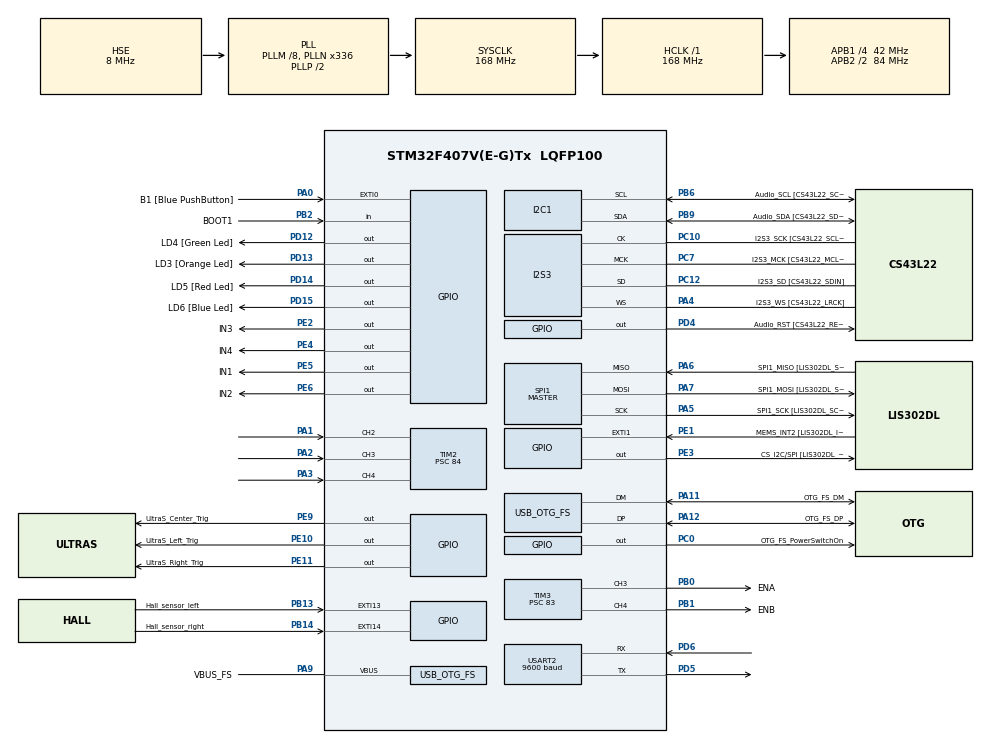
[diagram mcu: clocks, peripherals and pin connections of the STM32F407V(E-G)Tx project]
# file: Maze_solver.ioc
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I2S3.AudioFreq-Half_Duplex_Master=I2S_AUDIOFREQ_96K
I2S3.ErrorAudioFreq=-2.34 %
I2S3.ErrorAudioFreq-Half_Duplex_Master=0.8 %
I2S3.FullDuplexMode=I2S_FULLDUPLEXMODE_DISABLE
I2S3.Instance=SPI$Index
I2S3.RealAudioFreq=93.75 KHz
I2S3.RealAudioFreq-Half_Duplex_Master=96.774 KHz
I2S3.VirtualMode=I2S_MODE_MASTER
Mcu.Family=STM32F4
Mcu.Name=STM32F407V(E-G)Tx
Mcu.Package=LQFP100
NVIC.EXTI15_10_IRQn=true\:0\:0\:false\:false\:true\:true\:true\:true
NVIC.OTG_FS_IRQn=true\:0\:0\:false\:false\:true\:true\:true\:true
NVIC.PriorityGroup=NVIC_PRIORITYGROUP_0
NVIC.TIM2_IRQn=true\:0\:0\:false\:false\:true\:true\:true\:true
NVIC.USART2_IRQn=true\:0\:0\:false\:false\:true\:true\:true\:true
PA0-WKUP.GPIO_Label=B1 [Blue PushButton]
PA0-WKUP.GPIO_ModeDefaultEXTI=GPIO_MODE_EVT_RISING
PA0-WKUP.GPIO_PuPd=GPIO_NOPULL
PA0-WKUP.Signal=GPXTI0
PA1.Signal=S_TIM2_CH2
PA10.GPIO_Label=OTG_FS_ID
PA10.GPIO_Mode=GPIO_MODE_AF_PP
PA10.GPIO_PuPd=GPIO_NOPULL
PA10.GPIO_Speed=GPIO_SPEED_FREQ_LOW
PA10.Signal=USB_OTG_FS_ID
PA11.GPIO_Label=OTG_FS_DM
PA11.GPIO_Mode=GPIO_MODE_AF_PP
PA11.GPIO_PuPd=GPIO_NOPULL
PA11.GPIO_Speed=GPIO_SPEED_FREQ_LOW
PA11.Mode=Host_Only
PA11.Signal=USB_OTG_FS_DM
PA12.GPIO_Label=OTG_FS_DP
PA12.GPIO_Mode=GPIO_MODE_AF_PP
PA12.GPIO_PuPd=GPIO_NOPULL
PA12.GPIO_Speed=GPIO_SPEED_FREQ_LOW
PA12.Mode=Host_Only
PA12.Signal=USB_OTG_FS_DP
PA13.GPIO_Label=SWDIO
PA13.Mode=Serial_Wire
PA13.Signal=SYS_JTMS-SWDIO
PA14.GPIO_Label=SWCLK
PA14.Mode=Serial_Wire
PA14.Signal=SYS_JTCK-SWCLK
PA2.Signal=S_TIM2_CH3
PA3.Signal=S_TIM2_CH4
PA4.GPIO_Label=I2S3_WS [CS43L22_LRCK]
PA4.GPIO_Mode=GPIO_MODE_AF_PP
PA4.GPIO_PuPd=GPIO_NOPULL
PA4.GPIO_Speed=GPIO_SPEED_FREQ_LOW
PA4.Mode=Half_Duplex_Master
PA4.Signal=I2S3_WS
PA5.GPIO_Label=SPI1_SCK [LIS302DL_SCL/SPC]
PA5.GPIO_Mode=GPIO_MODE_AF_PP
PA5.GPIO_PuPd=GPIO_NOPULL
PA5.GPIO_Speed=GPIO_SPEED_FREQ_LOW
PA5.Mode=Full_Duplex_Master
PA5.Signal=SPI1_SCK
PA6.GPIO_Label=SPI1_MISO [LIS302DL_SDO]
PA6.GPIO_Mode=GPIO_MODE_AF_PP
PA6.GPIO_PuPd=GPIO_NOPULL
PA6.GPIO_Speed=GPIO_SPEED_FREQ_LOW
PA6.Mode=Full_Duplex_Master
PA6.Signal=SPI1_MISO
PA7.GPIO_Label=SPI1_MOSI [LIS302DL_SDA/SDI/SDO]
PA7.GPIO_Mode=GPIO_MODE_AF_PP
PA7.GPIO_PuPd=GPIO_NOPULL
PA7.GPIO_Speed=GPIO_SPEED_FREQ_LOW
PA7.Mode=Full_Duplex_Master
PA7.Signal=SPI1_MOSI
PA9.GPIO_Label=VBUS_FS
PA9.GPIO_Mode=GPIO_MODE_INPUT
PA9.GPIO_PuPd=GPIO_NOPULL
PA9.Mode=Activate_VBUS
PA9.Signal=USB_OTG_FS_VBUS
PB0.GPIO_Label=ENA
PB0.Signal=S_TIM3_CH3
PB1.GPIO_Label=ENB
PB1.Signal=S_TIM3_CH4
PB10.GPIO_Label=CLK_IN [MP45DT02_CLK]
PB10.GPIO_Mode=GPIO_MODE_AF_PP
PB10.GPIO_PuPd=GPIO_NOPULL
PB10.GPIO_Speed=GPIO_SPEED_FREQ_LOW
PB10.Signal=I2S2_CK
PB13.GPIO_Label=Hall_sensor_left
PB13.GPIO_PuPd=GPIO_PULLUP
PB13.Signal=GPXTI13
PB14.GPIO_Label=Hall_sensor_right
PB14.GPIO_PuPd=GPIO_PULLUP
PB14.Signal=GPXTI14
PB2.GPIO_Label=BOOT1
PB2.GPIO_Mode=GPIO_MODE_INPUT
PB2.GPIO_PuPd=GPIO_NOPULL
PB2.Signal=GPIO_Input
PB3.GPIO_Label=SWO
PB3.Signal=SYS_JTDO-SWO
PB6.GPIO_Label=Audio_SCL [CS43L22_SCL]
PB6.GPIO_Mode=GPIO_MODE_AF_OD
PB6.GPIO_Pu=GPIO_PULLUP
PB6.GPIO_PuPd=GPIO_NOPULL
PB6.GPIO_Speed=GPIO_SPEED_FREQ_LOW
PB6.Mode=I2C
PB6.Signal=I2C1_SCL
PB9.GPIO_Label=Audio_SDA [CS43L22_SDA]
PB9.GPIO_Mode=GPIO_MODE_AF_OD
PB9.GPIO_Pu=GPIO_PULLUP
PB9.GPIO_PuPd=GPIO_NOPULL
PB9.GPIO_Speed=GPIO_SPEED_FREQ_LOW
PB9.Mode=I2C
PB9.Signal=I2C1_SDA
PC0.GPIO_Label=OTG_FS_PowerSwitchOn
PC0.GPIO_PuPd=GPIO_NOPULL
PC0.GPIO_Speed=GPIO_SPEED_FREQ_LOW
PC0.PinState=GPIO_PIN_SET
PC0.Signal=GPIO_Output
PC10.GPIO_Label=I2S3_SCK [CS43L22_SCLK]
PC10.GPIO_Mode=GPIO_MODE_AF_PP
PC10.GPIO_PuPd=GPIO_NOPULL
PC10.GPIO_Speed=GPIO_SPEED_FREQ_LOW
PC10.Mode=Half_Duplex_Master
PC10.Signal=I2S3_CK
PC12.GPIO_Label=I2S3_SD [CS43L22_SDIN]
PC12.GPIO_Mode=GPIO_MODE_AF_PP
PC12.GPIO_PuPd=GPIO_NOPULL
PC12.GPIO_Speed=GPIO_SPEED_FREQ_LOW
PC12.Mode=Half_Duplex_Master
PC12.Signal=I2S3_SD
PC14-OSC32_IN.GPIO_Label=PC14-OSC32_IN
PC14-OSC32_IN.Mode=LSE-External-Oscillator
PC14-OSC32_IN.Signal=RCC_OSC32_IN
PC15-OSC32_OUT.GPIO_Label=PC15-OSC32_OUT
PC15-OSC32_OUT.Mode=LSE-External-Oscillator
PC15-OSC32_OUT.Signal=RCC_OSC32_OUT
PC3.GPIO_Label=PDM_OUT [MP45DT02_DOUT]
PC3.GPIO_Mode=GPIO_MODE_AF_PP
PC3.GPIO_PuPd=GPIO_NOPULL
PC3.GPIO_Speed=GPIO_SPEED_FREQ_LOW
PC3.Signal=I2S2_SD
PC7.GPIO_Label=I2S3_MCK [CS43L22_MCLK]
PC7.GPIO_Mode=GPIO_MODE_AF_PP
PC7.GPIO_PuPd=GPIO_NOPULL
PC7.GPIO_Speed=GPIO_SPEED_FREQ_LOW
PC7.Mode=Master_Clock_Activated
PC7.Signal=I2S3_MCK
PD12.GPIO_Label=LD4 [Green Led]
PD12.GPIO_PuPd=GPIO_NOPULL
PD12.GPIO_Speed=GPIO_SPEED_FREQ_LOW
PD12.Signal=GPIO_Output
PD13.GPIO_Label=LD3 [Orange Led]
PD13.GPIO_PuPd=GPIO_NOPULL
PD13.GPIO_Speed=GPIO_SPEED_FREQ_LOW
PD13.Signal=GPIO_Output
PD14.GPIO_Label=LD5 [Red Led]
PD14.GPIO_PuPd=GPIO_NOPULL
PD14.GPIO_Speed=GPIO_SPEED_FREQ_LOW
PD14.Signal=GPIO_Output
PD15.GPIO_Label=LD6 [Blue Led]
PD15.GPIO_PuPd=GPIO_NOPULL
PD15.GPIO_Speed=GPIO_SPEED_FREQ_LOW
PD15.Signal=GPIO_Output
PD4.GPIO_Label=Audio_RST [CS43L22_RESET]
PD4.GPIO_PuPd=GPIO_NOPULL
PD4.GPIO_Speed=GPIO_SPEED_FREQ_LOW
PD4.Signal=GPIO_Output
PD5.Mode=Asynchronous
PD5.Signal=USART2_TX
PD6.Mode=Asynchronous
PD6.Signal=USART2_RX
PE1.GPIO_Label=MEMS_INT2 [LIS302DL_INT2]
PE1.GPIO_ModeDefaultEXTI=GPIO_MODE_EVT_RISING
PE1.GPIO_PuPd=GPIO_NOPULL
PE1.Signal=GPXTI1
PE10.GPIO_Label=UltraS_Left_Trig
PE10.Signal=GPIO_Output
PE11.GPIO_Label=UltraS_Right_Trig
PE11.Signal=GPIO_Output
PE2.GPIO_Label=IN3
PE2.Signal=GPIO_Output
PE3.GPIO_Label=CS_I2C/SPI [LIS302DL_CS_I2C/SPI]
PE3.GPIO_PuPd=GPIO_NOPULL
PE3.GPIO_Speed=GPIO_SPEED_FREQ_LOW
PE3.Signal=GPIO_Output
PE4.GPIO_Label=IN4
PE4.Signal=GPIO_Output
PE5.GPIO_Label=IN1
PE5.Signal=GPIO_Output
PE6.GPIO_Label=IN2
PE6.Signal=GPIO_Output
PE9.GPIO_Label=UltraS_Center_Trig
PE9.Signal=GPIO_Output
PH0-OSC_IN.GPIO_Label=PH0-OSC_IN
PH0-OSC_IN.Mode=HSE-External-Oscillator
PH0-OSC_IN.Signal=RCC_OSC_IN
PH1-OSC_OUT.GPIO_Label=PH1-OSC_OUT
PH1-OSC_OUT.Mode=HSE-External-Oscillator
PH1-OSC_OUT.Signal=RCC_OSC_OUT
ProjectManager.HeapSize=0x200
ProjectManager.StackSize=0x400
ProjectManager.TargetToolchain=CMake
RCC.48MHZClocksFreq_Value=48000000
RCC.AHBFreq_Value=168000000
RCC.APB1CLKDivider=RCC_HCLK_DIV4
RCC.APB1Freq_Value=42000000
RCC.APB1TimFreq_Value=84000000
RCC.APB2CLKDivider=RCC_HCLK_DIV2
RCC.APB2Freq_Value=84000000
RCC.APB2TimFreq_Value=168000000
RCC.CortexFreq_Value=168000000
RCC.HCLKFreq_Value=168000000
RCC.HSE_VALUE=8000000
RCC.HSI_VALUE=16000000
RCC.PLLM=8
RCC.PLLN=336
RCC.PLLQ=7
RCC.SYSCLKFreq_VALUE=168000000
RCC.SYSCLKSource=RCC_SYSCLKSOURCE_PLLCLK
RCC.VCOOutputFreq_Value=336000000
SH.S_TIM2_CH2.0=TIM2_CH2,Input_Capture2_from_TI2
SH.S_TIM2_CH3.0=TIM2_CH3,Input_Capture3_from_TI3
SH.S_TIM2_CH4.0=TIM2_CH4,Input_Capture4_from_TI4
SH.S_TIM3_CH3.0=TIM3_CH3,PWM Generation3 CH3
SH.S_TIM3_CH4.0=TIM3_CH4,PWM Generation4 CH4
SPI1.BaudRatePrescaler-Full_Duplex_Master=SPI_BAUDRATEPRESCALER_2
SPI1.CalculateBaudRate-Full_Duplex_Master=42.0 MBits/s
SPI1.Direction=SPI_DIRECTION_2LINES
SPI1.Mode=SPI_MODE_MASTER
SPI1.Mode-Full_Duplex_Master=SPI_MODE_MASTER
SPI1.VirtualType=VM_MASTER
TIM2.Channel-Input_Capture2_from_TI2=TIM_CHANNEL_2
TIM2.Channel-Input_Capture3_from_TI3=TIM_CHANNEL_3
TIM2.Channel-Input_Capture4_from_TI4=TIM_CHANNEL_4
TIM2.Prescaler=84
TIM3.Channel-PWM\ Generation3\ CH3=TIM_CHANNEL_3
TIM3.Channel-PWM\ Generation4\ CH4=TIM_CHANNEL_4
TIM3.Period=499
TIM3.Prescaler=83
USART2.BaudRate=9600
USART2.VirtualMode=VM_ASYNC
USB_HOST.BSP.number=1
USB_HOST.USBH_HandleTypeDef-CDC_FS=hUsbHostFS
USB_HOST.VirtualModeFS=Cdc
USB_HOST0.BSP.STBoard=false
USB_HOST0.BSP.api=Unknown
USB_HOST0.BSP.instance=PC0
USB_HOST0.BSP.ip=GPIO
USB_HOST0.BSP.mode=Output
USB_HOST0.BSP.name=Drive_VBUS_FS
USB_HOST0.BSP.solution=PC0
USB_OTG_FS.VirtualMode=Host_Only
USB_OTG_FS.phy_itface=HCD_PHY_EMBEDDED
VP_TIM2_VS_ClockSourceINT.Mode=Internal
VP_USB_HOST_VS_USB_HOST_CDC_FS.Mode=CDC_FS
board=STM32F407G-DISC1

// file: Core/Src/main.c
/* USER CODE BEGIN Header */
/**
  ******************************************************************************
  * @file           : main.c
  * @brief          : Main program body
  ******************************************************************************
  * @attention
  *
  * Copyright (c) 2026 STMicroelectronics.
  * All rights reserved.
  *
  * This software is licensed under terms that can be found in the LICENSE file
  * in the root directory of this software component.
  * If no LICENSE file comes with this software, it is provided AS-IS.
  *
  ******************************************************************************
  */
/* USER CODE END Header */
#include "main.h"
#include "usb_host.h"

/* USER CODE BEGIN Includes */
#include <stdio.h>
#include <string.h>
/* USER CODE END Includes */
#include "HCSR04.h"
#include "pwm_motors.h"
#include "../Inc/YS-27.h"

I2C_HandleTypeDef hi2c1;

I2S_HandleTypeDef hi2s3;

SPI_HandleTypeDef hspi1;

TIM_HandleTypeDef htim2;
TIM_HandleTypeDef htim3;

UART_HandleTypeDef huart2;

/* USER CODE BEGIN PV */
uint8_t rxData;
uint8_t stopSignal;
/* USER CODE END PV */

void SystemClock_Config(void);
static void MX_GPIO_Init(void);
static void MX_I2C1_Init(void);
static void MX_I2S3_Init(void);
static void MX_SPI1_Init(void);
static void MX_TIM3_Init(void);
static void MX_TIM2_Init(void);
static void MX_USART2_UART_Init(void);
void MX_USB_HOST_Process(void);

/* USER CODE BEGIN 0 */
void HAL_TIM_IC_CaptureCallback(TIM_HandleTypeDef *htim)
{
  HCSR04_ProcessEcho(htim);
}

void HAL_GPIO_EXTI_Callback(uint16_t GPIO_Pin)
{
  Hall_sensor_counter(GPIO_Pin);
}
/* USER CODE END 0 */

int main(void)
{

  /* MCU Configuration--------------------------------------------------------*/

  /* Reset of all peripherals, Initializes the Flash interface and the Systick. */
  HAL_Init();

  /* Configure the system clock */
  SystemClock_Config();

  /* Initialize all configured peripherals */
  MX_GPIO_Init();
  MX_I2C1_Init();
  MX_I2S3_Init();
  MX_SPI1_Init();
  MX_TIM3_Init();
  MX_USB_HOST_Init();
  MX_TIM2_Init();
  MX_USART2_UART_Init();
  /* USER CODE BEGIN 2 */
  // for ultrasound
  HAL_UART_Receive_IT(&huart2, &rxData, 1);
  HAL_TIM_IC_Start_IT(&htim2, TIM_CHANNEL_2);
  HAL_TIM_IC_Start_IT(&htim2, TIM_CHANNEL_3);
  HAL_TIM_IC_Start_IT(&htim2, TIM_CHANNEL_4);
  DWT_Init();

  Motor_Init(&htim3);
  HAL_UART_Receive_IT(&huart2, &rxData, 1);
  Motor_ChangeDirection(currentMotorDir); // in the beginning, forward
  /* USER CODE END 2 */

  /* Infinite loop */
  /* USER CODE BEGIN WHILE */
  while (1)
  {
    Ultrasonic_Update();
    MX_USB_HOST_Process();

    if (!stopSignal) {
      HAL_GPIO_WritePin(LD6_GPIO_Port, LD6_Pin, GPIO_PIN_RESET);

      if (HCSR04_GetDistance(CENTER) > 10) {
        HAL_GPIO_WritePin(LD4_GPIO_Port, LD4_Pin, GPIO_PIN_SET);

        if (currentMotorDir != FORWARD_DIR) {
          Motor_ChangeDirection(FORWARD_DIR);
          currentMotorDir = FORWARD_DIR;
        }

        Motor_SetSpeed(LEFT_MOTOR, 300);
        Motor_SetSpeed(RIGHT_MOTOR, 300);
      }
      else {
        HAL_GPIO_WritePin(LD4_GPIO_Port, LD4_Pin, GPIO_PIN_RESET);

        if (currentMotorDir != LEFT_DIR) {
          Motor_ChangeDirection(LEFT_DIR);
          currentMotorDir = LEFT_DIR;
        }

        Motor_SetSpeed(LEFT_MOTOR, 300);
        Motor_SetSpeed(RIGHT_MOTOR, 300);
      }
    }
    else {
      Motor_SetSpeed(LEFT_MOTOR, 0);
      Motor_SetSpeed(RIGHT_MOTOR, 0);
      HAL_GPIO_WritePin(LD6_GPIO_Port, LD6_Pin, GPIO_PIN_SET);
    }

    /* USER CODE END WHILE */

  }
}

void SystemClock_Config(void)
{
  RCC_OscInitTypeDef RCC_OscInitStruct = {0};
  RCC_ClkInitTypeDef RCC_ClkInitStruct = {0};

  /** Configure the main internal regulator output voltage
  */
  __HAL_RCC_PWR_CLK_ENABLE();
  __HAL_PWR_VOLTAGESCALING_CONFIG(PWR_REGULATOR_VOLTAGE_SCALE1);

  /** Initializes the RCC Oscillators according to the specified parameters
  * in the RCC_OscInitTypeDef structure.
  */
  RCC_OscInitStruct.OscillatorType = RCC_OSCILLATORTYPE_HSE;
  RCC_OscInitStruct.HSEState = RCC_HSE_ON;
  RCC_OscInitStruct.PLL.PLLState = RCC_PLL_ON;
  RCC_OscInitStruct.PLL.PLLSource = RCC_PLLSOURCE_HSE;
  RCC_OscInitStruct.PLL.PLLM = 8;
  RCC_OscInitStruct.PLL.PLLN = 336;
  RCC_OscInitStruct.PLL.PLLP = RCC_PLLP_DIV2;
  RCC_OscInitStruct.PLL.PLLQ = 7;
  if (HAL_RCC_OscConfig(&RCC_OscInitStruct) != HAL_OK)
  {
    Error_Handler();
  }

  /** Initializes the CPU, AHB and APB buses clocks
  */
  RCC_ClkInitStruct.ClockType = RCC_CLOCKTYPE_HCLK|RCC_CLOCKTYPE_SYSCLK
                              |RCC_CLOCKTYPE_PCLK1|RCC_CLOCKTYPE_PCLK2;
  RCC_ClkInitStruct.SYSCLKSource = RCC_SYSCLKSOURCE_PLLCLK;
  RCC_ClkInitStruct.AHBCLKDivider = RCC_SYSCLK_DIV1;
  RCC_ClkInitStruct.APB1CLKDivider = RCC_HCLK_DIV4;
  RCC_ClkInitStruct.APB2CLKDivider = RCC_HCLK_DIV2;

  if (HAL_RCC_ClockConfig(&RCC_ClkInitStruct, FLASH_LATENCY_5) != HAL_OK)
  {
    Error_Handler();
  }
}

static void MX_I2C1_Init(void)
{

  hi2c1.Instance = I2C1;
  hi2c1.Init.ClockSpeed = 100000;
  hi2c1.Init.DutyCycle = I2C_DUTYCYCLE_2;
  hi2c1.Init.OwnAddress1 = 0;
  hi2c1.Init.AddressingMode = I2C_ADDRESSINGMODE_7BIT;
  hi2c1.Init.DualAddressMode = I2C_DUALADDRESS_DISABLE;
  hi2c1.Init.OwnAddress2 = 0;
  hi2c1.Init.GeneralCallMode = I2C_GENERALCALL_DISABLE;
  hi2c1.Init.NoStretchMode = I2C_NOSTRETCH_DISABLE;
  if (HAL_I2C_Init(&hi2c1) != HAL_OK)
  {
    Error_Handler();
  }

}

static void MX_I2S3_Init(void)
{

  hi2s3.Instance = SPI3;
  hi2s3.Init.Mode = I2S_MODE_MASTER_TX;
  hi2s3.Init.Standard = I2S_STANDARD_PHILIPS;
  hi2s3.Init.DataFormat = I2S_DATAFORMAT_16B;
  hi2s3.Init.MCLKOutput = I2S_MCLKOUTPUT_ENABLE;
  hi2s3.Init.AudioFreq = I2S_AUDIOFREQ_96K;
  hi2s3.Init.CPOL = I2S_CPOL_LOW;
  hi2s3.Init.ClockSource = I2S_CLOCK_PLL;
  hi2s3.Init.FullDuplexMode = I2S_FULLDUPLEXMODE_DISABLE;
  if (HAL_I2S_Init(&hi2s3) != HAL_OK)
  {
    Error_Handler();
  }

}

static void MX_SPI1_Init(void)
{

  /* SPI1 parameter configuration*/
  hspi1.Instance = SPI1;
  hspi1.Init.Mode = SPI_MODE_MASTER;
  hspi1.Init.Direction = SPI_DIRECTION_2LINES;
  hspi1.Init.DataSize = SPI_DATASIZE_8BIT;
  hspi1.Init.CLKPolarity = SPI_POLARITY_LOW;
  hspi1.Init.CLKPhase = SPI_PHASE_1EDGE;
  hspi1.Init.NSS = SPI_NSS_SOFT;
  hspi1.Init.BaudRatePrescaler = SPI_BAUDRATEPRESCALER_2;
  hspi1.Init.FirstBit = SPI_FIRSTBIT_MSB;
  hspi1.Init.TIMode = SPI_TIMODE_DISABLE;
  hspi1.Init.CRCCalculation = SPI_CRCCALCULATION_DISABLE;
  hspi1.Init.CRCPolynomial = 10;
  if (HAL_SPI_Init(&hspi1) != HAL_OK)
  {
    Error_Handler();
  }

}

static void MX_TIM2_Init(void)
{

  TIM_ClockConfigTypeDef sClockSourceConfig = {0};
  TIM_MasterConfigTypeDef sMasterConfig = {0};
  TIM_IC_InitTypeDef sConfigIC = {0};

  htim2.Instance = TIM2;
  htim2.Init.Prescaler = 84;
  htim2.Init.CounterMode = TIM_COUNTERMODE_UP;
  htim2.Init.Period = 4294967295;
  htim2.Init.ClockDivision = TIM_CLOCKDIVISION_DIV1;
  htim2.Init.AutoReloadPreload = TIM_AUTORELOAD_PRELOAD_DISABLE;
  if (HAL_TIM_Base_Init(&htim2) != HAL_OK)
  {
    Error_Handler();
  }
  sClockSourceConfig.ClockSource = TIM_CLOCKSOURCE_INTERNAL;
  if (HAL_TIM_ConfigClockSource(&htim2, &sClockSourceConfig) != HAL_OK)
  {
    Error_Handler();
  }
  if (HAL_TIM_IC_Init(&htim2) != HAL_OK)
  {
    Error_Handler();
  }
  sMasterConfig.MasterOutputTrigger = TIM_TRGO_RESET;
  sMasterConfig.MasterSlaveMode = TIM_MASTERSLAVEMODE_DISABLE;
  if (HAL_TIMEx_MasterConfigSynchronization(&htim2, &sMasterConfig) != HAL_OK)
  {
    Error_Handler();
  }
  sConfigIC.ICPolarity = TIM_INPUTCHANNELPOLARITY_RISING;
  sConfigIC.ICSelection = TIM_ICSELECTION_DIRECTTI;
  sConfigIC.ICPrescaler = TIM_ICPSC_DIV1;
  sConfigIC.ICFilter = 0;
  if (HAL_TIM_IC_ConfigChannel(&htim2, &sConfigIC, TIM_CHANNEL_2) != HAL_OK)
  {
    Error_Handler();
  }
  if (HAL_TIM_IC_ConfigChannel(&htim2, &sConfigIC, TIM_CHANNEL_3) != HAL_OK)
  {
    Error_Handler();
  }
  if (HAL_TIM_IC_ConfigChannel(&htim2, &sConfigIC, TIM_CHANNEL_4) != HAL_OK)
  {
    Error_Handler();
  }

}

static void MX_TIM3_Init(void)
{

  TIM_MasterConfigTypeDef sMasterConfig = {0};
  TIM_OC_InitTypeDef sConfigOC = {0};

  htim3.Instance = TIM3;
  htim3.Init.Prescaler = 83;
  htim3.Init.CounterMode = TIM_COUNTERMODE_UP;
  htim3.Init.Period = 499;
  htim3.Init.ClockDivision = TIM_CLOCKDIVISION_DIV1;
  htim3.Init.AutoReloadPreload = TIM_AUTORELOAD_PRELOAD_DISABLE;
  if (HAL_TIM_PWM_Init(&htim3) != HAL_OK)
  {
    Error_Handler();
  }
  sMasterConfig.MasterOutputTrigger = TIM_TRGO_RESET;
  sMasterConfig.MasterSlaveMode = TIM_MASTERSLAVEMODE_DISABLE;
  if (HAL_TIMEx_MasterConfigSynchronization(&htim3, &sMasterConfig) != HAL_OK)
  {
    Error_Handler();
  }
  sConfigOC.OCMode = TIM_OCMODE_PWM1;
  sConfigOC.Pulse = 0;
  sConfigOC.OCPolarity = TIM_OCPOLARITY_HIGH;
  sConfigOC.OCFastMode = TIM_OCFAST_DISABLE;
  if (HAL_TIM_PWM_ConfigChannel(&htim3, &sConfigOC, TIM_CHANNEL_3) != HAL_OK)
  {
    Error_Handler();
  }
  if (HAL_TIM_PWM_ConfigChannel(&htim3, &sConfigOC, TIM_CHANNEL_4) != HAL_OK)
  {
    Error_Handler();
  }
  HAL_TIM_MspPostInit(&htim3);

}

static void MX_USART2_UART_Init(void)
{

  huart2.Instance = USART2;
  huart2.Init.BaudRate = 9600;
  huart2.Init.WordLength = UART_WORDLENGTH_8B;
  huart2.Init.StopBits = UART_STOPBITS_1;
  huart2.Init.Parity = UART_PARITY_NONE;
  huart2.Init.Mode = UART_MODE_TX_RX;
  huart2.Init.HwFlowCtl = UART_HWCONTROL_NONE;
  huart2.Init.OverSampling = UART_OVERSAMPLING_16;
  if (HAL_UART_Init(&huart2) != HAL_OK)
  {
    Error_Handler();
  }

}

static void MX_GPIO_Init(void)
{
  GPIO_InitTypeDef GPIO_InitStruct = {0};

  /* GPIO Ports Clock Enable */
  __HAL_RCC_GPIOE_CLK_ENABLE();
  __HAL_RCC_GPIOC_CLK_ENABLE();
  __HAL_RCC_GPIOH_CLK_ENABLE();
  __HAL_RCC_GPIOA_CLK_ENABLE();
  __HAL_RCC_GPIOB_CLK_ENABLE();
  __HAL_RCC_GPIOD_CLK_ENABLE();

  /*Configure GPIO pin Output Level */
  HAL_GPIO_WritePin(GPIOE, IN3_Pin|CS_I2C_SPI_Pin|IN4_Pin|IN1_Pin
                          |IN2_Pin|UltraS_Center_Trig_Pin|UltraS_Left_Trig_Pin|UltraS_Right_Trig_Pin, GPIO_PIN_RESET);

  /*Configure GPIO pin Output Level */
  HAL_GPIO_WritePin(OTG_FS_PowerSwitchOn_GPIO_Port, OTG_FS_PowerSwitchOn_Pin, GPIO_PIN_SET);

  /*Configure GPIO pin Output Level */
  HAL_GPIO_WritePin(GPIOD, LD4_Pin|LD3_Pin|LD5_Pin|LD6_Pin
                          |Audio_RST_Pin, GPIO_PIN_RESET);

  /*Configure GPIO pins : IN3_Pin CS_I2C_SPI_Pin IN4_Pin IN1_Pin
                           IN2_Pin UltraS_Center_Trig_Pin UltraS_Left_Trig_Pin UltraS_Right_Trig_Pin */
  GPIO_InitStruct.Pin = IN3_Pin|CS_I2C_SPI_Pin|IN4_Pin|IN1_Pin
                          |IN2_Pin|UltraS_Center_Trig_Pin|UltraS_Left_Trig_Pin|UltraS_Right_Trig_Pin;
  GPIO_InitStruct.Mode = GPIO_MODE_OUTPUT_PP;
  GPIO_InitStruct.Pull = GPIO_NOPULL;
  GPIO_InitStruct.Speed = GPIO_SPEED_FREQ_LOW;
  HAL_GPIO_Init(GPIOE, &GPIO_InitStruct);

  /*Configure GPIO pin : OTG_FS_PowerSwitchOn_Pin */
  GPIO_InitStruct.Pin = OTG_FS_PowerSwitchOn_Pin;
  GPIO_InitStruct.Mode = GPIO_MODE_OUTPUT_PP;
  GPIO_InitStruct.Pull = GPIO_NOPULL;
  GPIO_InitStruct.Speed = GPIO_SPEED_FREQ_LOW;
  HAL_GPIO_Init(OTG_FS_PowerSwitchOn_GPIO_Port, &GPIO_InitStruct);

  /*Configure GPIO pin : PDM_OUT_Pin */
  GPIO_InitStruct.Pin = PDM_OUT_Pin;
  GPIO_InitStruct.Mode = GPIO_MODE_AF_PP;
  GPIO_InitStruct.Pull = GPIO_NOPULL;
  GPIO_InitStruct.Speed = GPIO_SPEED_FREQ_LOW;
  GPIO_InitStruct.Alternate = GPIO_AF5_SPI2;
  HAL_GPIO_Init(PDM_OUT_GPIO_Port, &GPIO_InitStruct);

  /*Configure GPIO pin : B1_Pin */
  GPIO_InitStruct.Pin = B1_Pin;
  GPIO_InitStruct.Mode = GPIO_MODE_EVT_RISING;
  GPIO_InitStruct.Pull = GPIO_NOPULL;
  HAL_GPIO_Init(B1_GPIO_Port, &GPIO_InitStruct);

  /*Configure GPIO pin : BOOT1_Pin */
  GPIO_InitStruct.Pin = BOOT1_Pin;
  GPIO_InitStruct.Mode = GPIO_MODE_INPUT;
  GPIO_InitStruct.Pull = GPIO_NOPULL;
  HAL_GPIO_Init(BOOT1_GPIO_Port, &GPIO_InitStruct);

  /*Configure GPIO pin : CLK_IN_Pin */
  GPIO_InitStruct.Pin = CLK_IN_Pin;
  GPIO_InitStruct.Mode = GPIO_MODE_AF_PP;
  GPIO_InitStruct.Pull = GPIO_NOPULL;
  GPIO_InitStruct.Speed = GPIO_SPEED_FREQ_LOW;
  GPIO_InitStruct.Alternate = GPIO_AF5_SPI2;
  HAL_GPIO_Init(CLK_IN_GPIO_Port, &GPIO_InitStruct);

  /*Configure GPIO pins : Hall_sensor_left_Pin Hall_sensor_right_Pin */
  GPIO_InitStruct.Pin = Hall_sensor_left_Pin|Hall_sensor_right_Pin;
  GPIO_InitStruct.Mode = GPIO_MODE_IT_RISING;
  GPIO_InitStruct.Pull = GPIO_PULLUP;
  HAL_GPIO_Init(GPIOB, &GPIO_InitStruct);

  /*Configure GPIO pins : LD4_Pin LD3_Pin LD5_Pin LD6_Pin
                           Audio_RST_Pin */
  GPIO_InitStruct.Pin = LD4_Pin|LD3_Pin|LD5_Pin|LD6_Pin
                          |Audio_RST_Pin;
  GPIO_InitStruct.Mode = GPIO_MODE_OUTPUT_PP;
  GPIO_InitStruct.Pull = GPIO_NOPULL;
  GPIO_InitStruct.Speed = GPIO_SPEED_FREQ_LOW;
  HAL_GPIO_Init(GPIOD, &GPIO_InitStruct);

  /*Configure GPIO pin : MEMS_INT2_Pin */
  GPIO_InitStruct.Pin = MEMS_INT2_Pin;
  GPIO_InitStruct.Mode = GPIO_MODE_EVT_RISING;
  GPIO_InitStruct.Pull = GPIO_NOPULL;
  HAL_GPIO_Init(MEMS_INT2_GPIO_Port, &GPIO_InitStruct);

  /* EXTI interrupt init*/
  HAL_NVIC_SetPriority(EXTI15_10_IRQn, 0, 0);
  HAL_NVIC_EnableIRQ(EXTI15_10_IRQn);

}

/* USER CODE BEGIN 4 */
void HAL_UART_RxCpltCallback(UART_HandleTypeDef *huart)
{
  if(huart->Instance==USART2)
  {
    if(rxData=='N' || rxData=='n')
    {
      stopSignal = 1;
      HAL_GPIO_WritePin(LD6_GPIO_Port, LD6_Pin, GPIO_PIN_RESET);
    }
    else if (rxData=='Y' || rxData=='y')
    {
      stopSignal = 0;
      HAL_GPIO_WritePin(LD6_GPIO_Port, LD6_Pin, GPIO_PIN_SET);
    }
    HAL_UART_Receive_IT(&huart2,&rxData,1); // Enabling interrupt receive again
  }
}

/* USER CODE END 4 */

void Error_Handler(void)
{
  __disable_irq();
  while (1)
  {
  }
}
